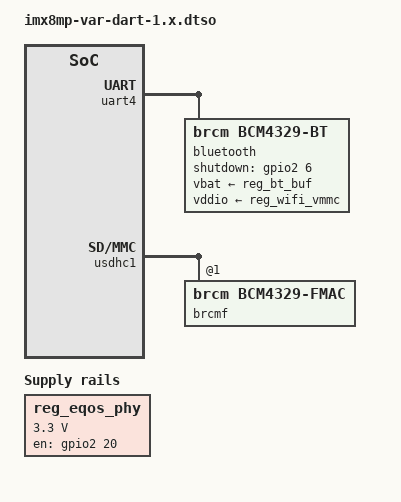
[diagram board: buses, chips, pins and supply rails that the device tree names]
// SPDX-License-Identifier: (GPL-2.0+ OR MIT)
/*
 * Device tree overlay to support the DART-MX8M-PLUS 1.x
 *
 * Copyright (C) 2026 Variscite Ltd. - https://www.variscite.com/
 *
 */

/dts-v1/;
/plugin/;

#include <dt-bindings/gpio/gpio.h>

&{/} {
	reg_eqos_phy: regulator-eqos-phy {
		compatible = "regulator-fixed";
		regulator-name = "eqos-phy";
		regulator-min-microvolt = <3300000>;
		regulator-max-microvolt = <3300000>;
		regulator-enable-ramp-delay = <20000>;
		gpio = <&gpio2 20 GPIO_ACTIVE_HIGH>;
		enable-active-high;
		regulator-always-on;
	};
};

&bluetooth_iw61x {
	status = "disabled";
};

&uart4 {
	bluetooth {
		compatible = "brcm,bcm4329-bt";
		pinctrl-names = "default";
		pinctrl-0 = <&pinctrl_bt_en>;
		clocks = <&osc_32k>;
		clock-names = "txco";
		max-speed = <3000000>;
		vbat-supply = <&reg_bt_buf>;
		vddio-supply = <&reg_wifi_vmmc>;
		shutdown-gpios = <&gpio2 6 GPIO_ACTIVE_HIGH>;
		brcm,bt-pcm-int-params = [01 00 00 00 00];
	};
};

/* WIFI */
&usdhc1 {
	#address-cells = <1>;
	#size-cells = <0>;

	brcmf: bcrmf@1 {
		reg = <1>;
		compatible = "brcm,bcm4329-fmac";
	};
};
